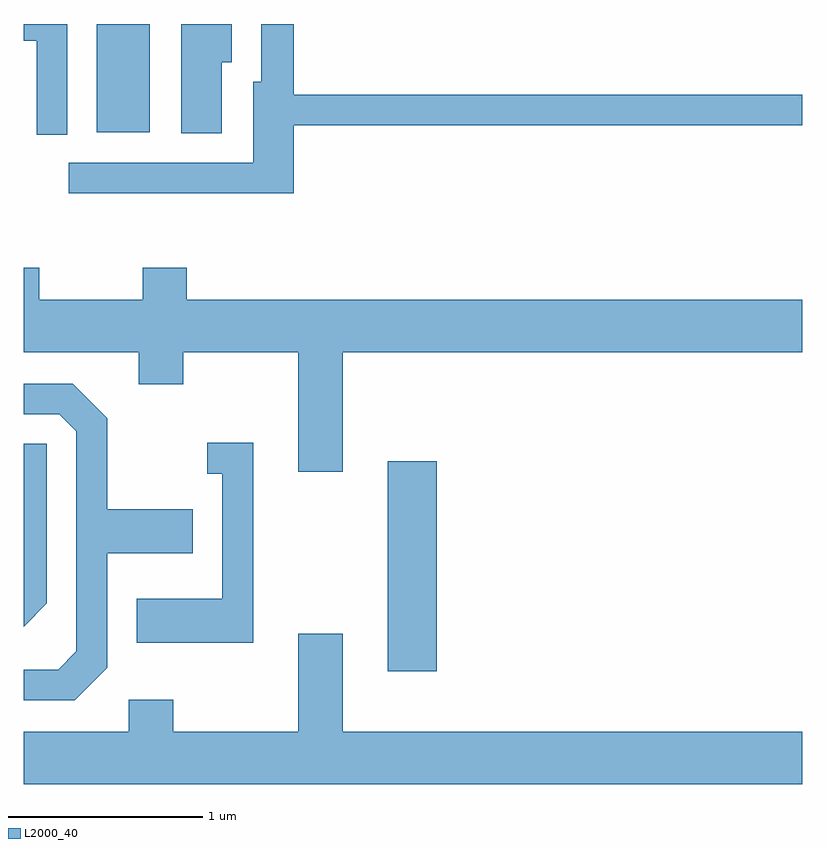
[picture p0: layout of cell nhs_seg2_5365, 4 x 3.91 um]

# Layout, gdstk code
import gdstk
lib = gdstk.Library(unit=1e-6, precision=1e-09)
def R(c, l, rs):  # rectangles x0, y0, x1, y1
    for r in rs: c.add(gdstk.rectangle(r[:2], r[2:], *l))
def P(c, l, *ps):  # polygons
    for p in ps: c.add(gdstk.Polygon(p, *l))
L2000_40 = (2000, 40)

nhs_seg2_5365 = lib.new_cell('nhs_seg2_5365')
R(nhs_seg2_5365, L2000_40, [(345.481,1024.476,345.734,1025.554), (343.986,1027.246,344.259,1027.802)])
P(nhs_seg2_5365, L2000_40, [(344.999,1027.281),(347.611,1027.281),(347.611,1027.439),(344.999,1027.439),(344.999,1027.802),(344.831,1027.802),(344.831,1027.504),(344.791,1027.504),(344.791,1027.089),(343.843,1027.089),(343.843,1026.931),(344.999,1026.931)],
  [(343.834,1027.802),(343.611,1027.802),(343.611,1027.716),(343.676,1027.716),(343.676,1027.233),(343.834,1027.233)],
  [(344.629,1027.606),(344.679,1027.606),(344.679,1027.802),(344.421,1027.802),(344.421,1027.241),(344.629,1027.241)],
  [(345.249,1026.116),(347.611,1026.116),(347.611,1026.384),(344.449,1026.384),(344.449,1026.549),(344.221,1026.549),(344.221,1026.384),(343.689,1026.384),(343.689,1026.549),(343.611,1026.549),(343.611,1026.116),(344.201,1026.116),(344.201,1025.951),(344.429,1025.951),(344.429,1026.116),(345.021,1026.116),(345.021,1025.501),(345.249,1025.501)],
  [(344.013,1024.467),(344.039,1024.494),(344.039,1025.081),(344.479,1025.081),(344.479,1025.309),(344.039,1025.309),(344.039,1025.777),(343.862,1025.954),(343.611,1025.954),(343.611,1025.796),(343.794,1025.796),(343.881,1025.709),(343.881,1024.577),(343.789,1024.484),(343.611,1024.484),(343.611,1024.326),(343.872,1024.326)],
  [(344.789,1025.649),(344.553,1025.649),(344.553,1025.491),(344.631,1025.491),(344.631,1024.849),(344.191,1024.849),(344.191,1024.621),(344.789,1024.621)],
  [(343.729,1024.824),(343.729,1025.644),(343.611,1025.644),(343.611,1024.705)],
  [(347.611,1024.164),(345.249,1024.164),(345.249,1024.669),(345.021,1024.669),(345.021,1024.164),(344.379,1024.164),(344.379,1024.329),(344.151,1024.329),(344.151,1024.164),(343.611,1024.164),(343.611,1023.896),(347.611,1023.896)])

lib.write_gds('nhs_seg2_5365.gds')
